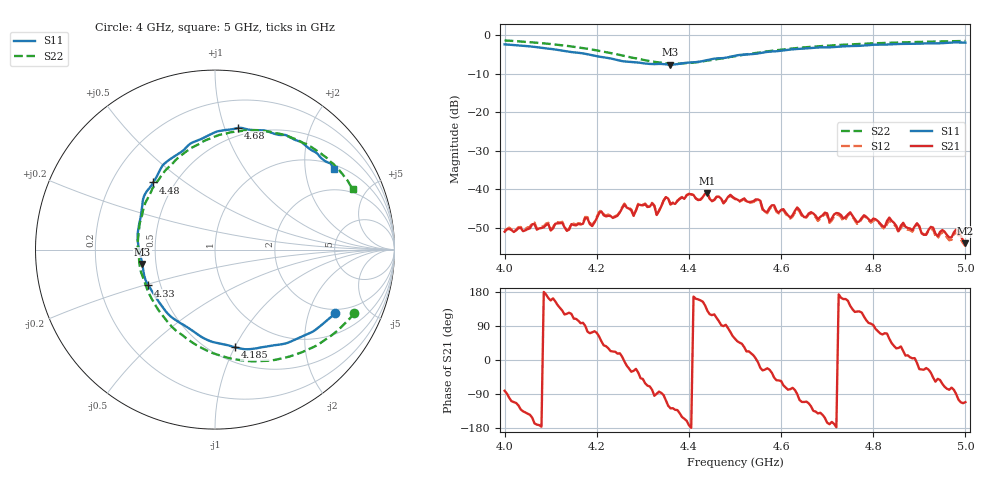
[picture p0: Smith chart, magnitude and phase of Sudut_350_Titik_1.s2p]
# Hz S RI R 50
! CMT, C1220, 16058040, 17.2.0/1
! Date: 15/08/2018 11:37:13
! Data: Format (Calibration Info)
! Freq  S11: Re/Im (F2)  S21: Re/Im (F2)  S12: Re/Im (F2)  S22: Re/Im (F2)
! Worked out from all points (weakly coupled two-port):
!   201 points, 4 GHz to 5 GHz, reference 50 ohm
!   highest |S21| = -40.98 dB at 4.44 GHz (marker M1); lowest = -54.1 dB at 5 GHz (marker M2)
!   lowest |S11| = -7.7 dB at 4.36 GHz (marker M3), VSWR 2.40, Z = 21 - j4.08 ohm
!   |S11| at or under -10 dB: nowhere
!   |S22| runs from -7.4 to -1.4 dB; largest |S21 - S12| = 0.00035
!   S11 on the Smith chart (normalised r, x): 4 GHz: 1.81, -3.02; 4.185 GHz: 0.64, -1.00; 4.33 GHz: 0.43, -0.21; 4.48 GHz: 0.38, +0.38; 4.68 GHz: 0.43, +1.11; 5 GHz: 1.14, +2.84
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4e9  0.6693 -0.3547  0.00043 -0.00276  0.000518 -0.00287  0.7754 -0.353
4.17e9  0.1655 -0.5549  -0.000505 0.0035  -0.000641 0.00358  0.2754 -0.6201
4.185e9  0.1115 -0.5442  0.00116 0.00331  0.00119 0.00346  0.2111 -0.6225
4.26e9  -0.1733 -0.4208  0.00627 -0.000418  0.00646 -0.000394  -0.1179 -0.5234
4.28e9  -0.2476 -0.3719  0.00395 -0.00215  0.00397 -0.00222  -0.1977 -0.4651
4.32e9  -0.3497 -0.2338  0.00131 -0.00639  0.00125 -0.00651  -0.331 -0.3115
4.33e9  -0.3711 -0.1997  6.34e-05 -0.00461  -6.67e-06 -0.00467  -0.3553 -0.2691
4.335e9  -0.3811 -0.1823  0.000597 -0.00516  0.000583 -0.00521  -0.3675 -0.2453
4.35e9  -0.3984 -0.1234  -0.00225 -0.00753  -0.00229 -0.00748  -0.3951 -0.1718
4.36e9  -0.4046 -0.0807  -0.00384 -0.00501  -0.00389 -0.00501  -0.4122 -0.1255
4.44e9  -0.4046 0.249  -0.00574 0.00685  -0.00557 0.00688  -0.3878 0.2608
4.48e9  -0.3437 0.3742  -0.000355 0.00711  -0.000151 0.00703  -0.3007 0.4095
4.5e9  -0.3056 0.4449  0.00418 0.00627  0.00419 0.00616  -0.2468 0.4706
4.67e9  0.1104 0.6733  -0.00336 -0.00345  -0.00329 -0.00322  0.2474 0.6633
4.68e9  0.1296 0.6781  -0.00315 -0.00255  -0.00303 -0.00239  0.2715 0.6602
4.825e9  0.425 0.6217  0.00106 0.00304  0.0011 0.00283  0.5665 0.5514
4.835e9  0.4441 0.6121  0.0024 0.00353  0.00218 0.00326  0.5811 0.541
4.855e9  0.4762 0.6011  0.00241 0.00149  0.00228 0.00146  0.6111 0.5186
4.895e9  0.5337 0.5565  0.00356 -0.000491  0.0035 -0.000312  0.6642 0.4729
4.91e9  0.5567 0.5442  0.0023 -0.0011  0.00229 -0.00111  0.6799 0.4541
4.98e9  0.6457 0.4771  -3.55e-06 -0.00298  -1.09e-05 -0.0027  0.7496 0.3649
5e9  0.6608 0.4495  -0.000717 -0.00185  -0.000596 -0.00171  0.7678 0.3382
